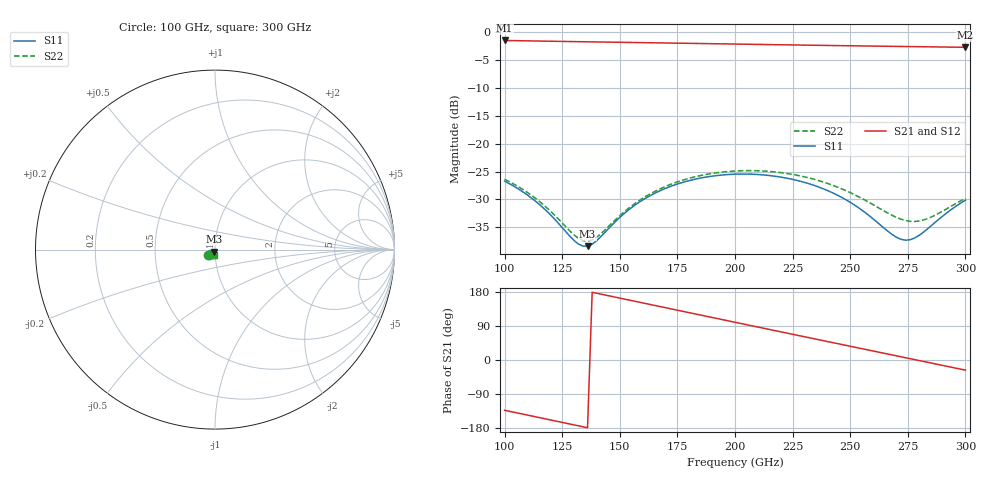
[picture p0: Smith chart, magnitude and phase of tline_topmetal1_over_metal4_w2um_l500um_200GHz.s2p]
#  GHZ S DB R 50
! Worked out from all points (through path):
!   101 points, 100 GHz to 300 GHz, reference 50 ohm
!   highest |S21| = -1.43 dB at 100 GHz (marker M1); lowest = -2.7 dB at 300 GHz (marker M2)
!   group delay of S21, straight-line fit = 3.53 ps
!   lowest |S11| = -38.4 dB at 136 GHz (marker M3), VSWR 1.02, Z = 49.5 - j1.1 ohm
!   |S11| at or under -10 dB: start of sweep to end of sweep
!   |S22| runs from -37.5 to -24.8 dB; largest |S21 - S12| = 9e-14
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100  -26.72 -140.7  -1.43 -132.6  -1.43 -132.6  -26.37 -139.6
110  -29.24 -150.4  -1.51 -145.5  -1.51 -145.5  -28.78 -148.8
118  -31.99 -153.9  -1.56 -155.7  -1.56 -155.7  -31.38 -152.2
130  -37.33 -138.0  -1.64 -171.1  -1.64 -171.1  -36.33 -137.8
134  -38.39 -121.5  -1.67 -176.2  -1.67 -176.2  -37.40 -123.2
136  -38.40 -112.1  -1.68 -178.8  -1.68 -178.8  -37.51 -114.7
140  -37.40 -95.9  -1.70 176.1  -1.70 176.1  -36.77 -99.1
152  -32.50 -80.2  -1.78 160.8  -1.78 160.8  -32.20 -81.3
160  -30.08 -83.0  -1.83 150.6  -1.83 150.6  -29.78 -83.1
168  -28.34 -89.3  -1.88 140.3  -1.88 140.3  -28.00 -88.6
184  -26.25 -105.6  -1.98 119.9  -1.98 119.9  -25.81 -103.8
200  -25.47 -123.4  -2.08 99.6  -2.08 99.6  -24.90 -120.6
216  -25.76 -141.0  -2.18 79.3  -2.18 79.3  -25.01 -137.1
224  -26.31 -149.3  -2.23 69.1  -2.23 69.1  -25.44 -144.8
234  -27.43 -158.8  -2.30 56.5  -2.30 56.5  -26.34 -153.5
250  -30.52 -169.4  -2.39 36.3  -2.39 36.3  -28.78 -163.0
260  -33.51 -168.3  -2.45 23.7  -2.45 23.7  -30.96 -162.8
268  -36.25 -156.0  -2.49 13.6  -2.49 13.6  -32.82 -155.8
274  -37.32 -136.7  -2.52 6.0  -2.52 6.0  -33.80 -145.2
278  -36.93 -122.7  -2.55 1.0  -2.55 1.0  -33.97 -136.5
286  -34.43 -105.0  -2.59 -9.1  -2.59 -9.1  -33.01 -120.8
300  -30.15 -101.4  -2.66 -26.8  -2.66 -26.8  -29.80 -111.1
